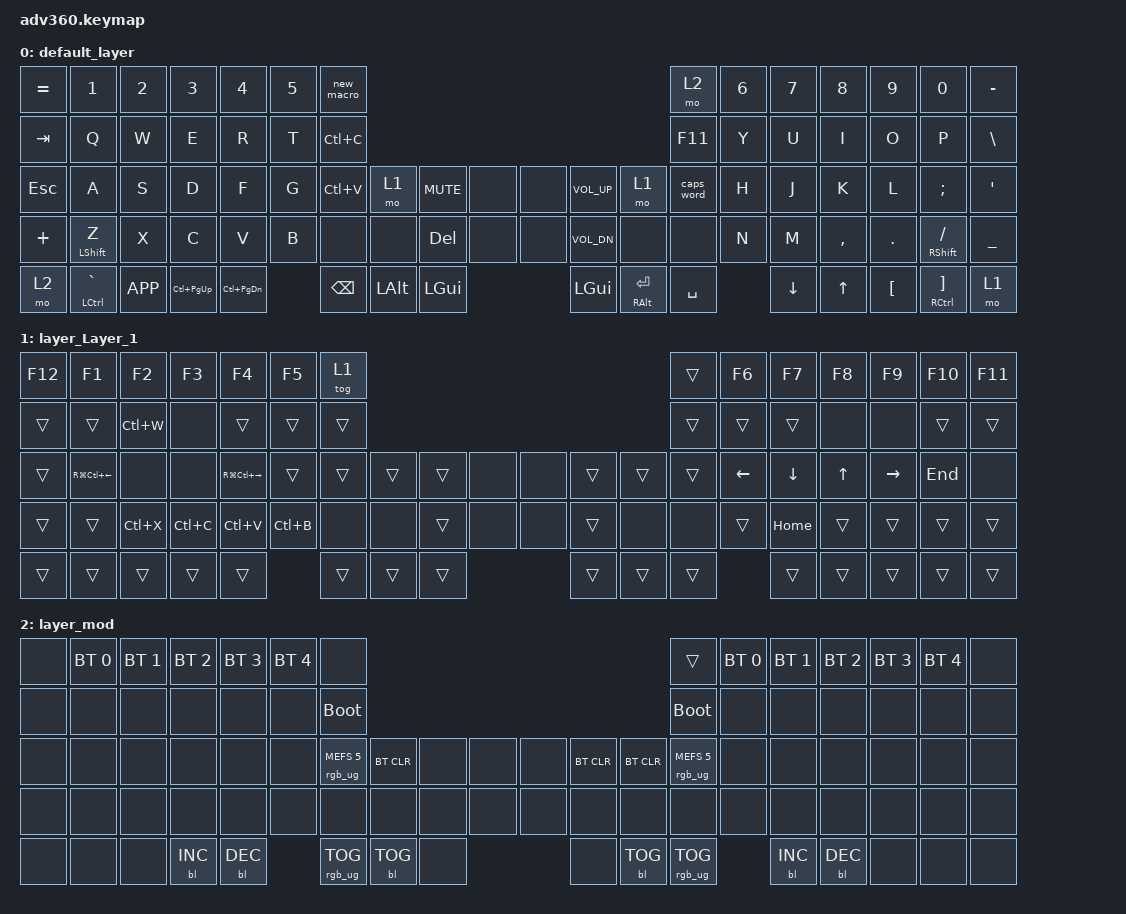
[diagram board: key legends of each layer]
/*
 * Copyright (c) 2020 The ZMK Contributors
 *
 * SPDX-License-Identifier: MIT
 */
/* THIS FILE WAS GENERATED!
 *
 * This file was generated automatically. You may or may not want to
 * edit it directly.
 */

#include <behaviors.dtsi>
#include <dt-bindings/zmk/backlight.h>
#include <dt-bindings/zmk/bt.h>
#include <dt-bindings/zmk/keys.h>
#include <dt-bindings/zmk/rgb.h>

/ {
    behaviors {
        #include "macros.dtsi"
    #include "version.dtsi"

        hm: homerow_mods {
            compatible = "zmk,behavior-hold-tap";
            label = "HOMEROW_MODS";
            #binding-cells = <2>;
            tapping-term-ms = <200>;
            quick_tap_ms = <175>;
            flavor = "tap-preferred";
            bindings = <&kp>, <&kp>;
        };
    };

    macros {
        new_macro: new_macro {
            compatible = "zmk,behavior-macro";
            #binding-cells = <0>;
            bindings = <&none &kp LS(E) &kp N1 &kp N2 &kp N1 &kp N4 &kp LS(P) &kp C &kp N6 &kp AT &kp EXCL &kp LS(R) &kp LS(F) &kp O &kp R &kp C &kp E &kp N0 &kp N1 &kp EXCL>;
            label = "NEW_MACRO";
        };
    };

    keymap {
        compatible = "zmk,keymap";

        default_layer {
            bindings = <
&kp EQUAL  &kp N1            &kp N2     &kp N3         &kp N4         &kp N5  &new_macro                                                                               &mo 2       &kp N6  &kp N7    &kp N8     &kp N9    &kp N0                           &kp MINUS
&kp TAB    &kp Q             &kp W      &kp E          &kp R          &kp T   &kp LC(C)                                                                                &kp F11     &kp Y   &kp U     &kp I      &kp O     &kp P                            &kp BSLH
&kp ESC    &kp A             &kp S      &kp D          &kp F          &kp G   &kp LC(V)   &mo 1         &kp C_MUTE    &none  &none  &kp C_VOL_UP  &mo 1                &caps_word  &kp H   &kp J     &kp K      &kp L     &kp SEMI                         &kp SQT
&kp PLUS   &mt LEFT_SHIFT Z  &kp X      &kp C          &kp V          &kp B   &none       &none         &kp DEL       &none  &none  &kp C_VOL_DN  &none                &none       &kp N   &kp M     &kp COMMA  &kp DOT   &mt RIGHT_SHIFT SLASH            &kp UNDERSCORE
&mo 2      &mt LCTRL GRAVE   &kp K_APP  &kp LC(PG_UP)  &kp LC(PG_DN)          &kp BSPC    &kp LEFT_ALT  &kp LEFT_GUI                &kp LEFT_GUI  &mt RIGHT_ALT ENTER  &kp SPACE           &kp DOWN  &kp UP     &kp LBKT  &mt RIGHT_CONTROL RIGHT_BRACKET  &mo 1
            >;
        };

        layer_Layer_1 {
            bindings = <
&kp F12  &kp F1                  &kp F2     &kp F3     &kp F4                   &kp F5     &tog 1                                                &trans  &kp F6    &kp F7    &kp F8  &kp F9     &kp F10  &kp F11
&trans   &trans                  &kp LC(W)  &none      &trans                   &trans     &trans                                                &trans  &trans    &trans    &none   &none      &trans   &trans
&trans   &kp RG(LC(LEFT_ARROW))  &none      &none      &kp RG(LC(RIGHT_ARROW))  &trans     &trans  &trans  &trans  &none  &none  &trans  &trans  &trans  &kp LEFT  &kp DOWN  &kp UP  &kp RIGHT  &kp END  &none
&trans   &trans                  &kp LC(X)  &kp LC(C)  &kp LC(V)                &kp LC(B)  &none   &none   &trans  &none  &none  &trans  &none   &none   &trans    &kp HOME  &trans  &trans     &trans   &trans
&trans   &trans                  &trans     &trans     &trans                              &trans  &trans  &trans                &trans  &trans  &trans            &trans    &trans  &trans     &trans   &trans
            >;
        };

        layer_mod {
            bindings = <
&none  &bt BT_SEL 0  &bt BT_SEL 1  &bt BT_SEL 2  &bt BT_SEL 3  &bt BT_SEL 4  &none                                                                            &trans                  &bt BT_SEL 0  &bt BT_SEL 1  &bt BT_SEL 2  &bt BT_SEL 3  &bt BT_SEL 4  &none
&none  &none         &none         &none         &none         &none         &bootloader                                                                      &bootloader             &none         &none         &none         &none         &none         &none
&none  &none         &none         &none         &none         &none         &rgb_ug RGB_MEFS_CMD 5  &bt BT_CLR  &none  &none  &none  &bt BT_CLR  &bt BT_CLR  &rgb_ug RGB_MEFS_CMD 5  &none         &none         &none         &none         &none         &none
&none  &none         &none         &none         &none         &none         &none                   &none       &none  &none  &none  &none       &none       &none                   &none         &none         &none         &none         &none         &none
&none  &none         &none         &bl BL_INC    &bl BL_DEC                  &rgb_ug RGB_TOG         &bl BL_TOG  &none                &none       &bl BL_TOG  &rgb_ug RGB_TOG                       &bl BL_INC    &bl BL_DEC    &none         &none         &none
            >;
        };
    };
};
